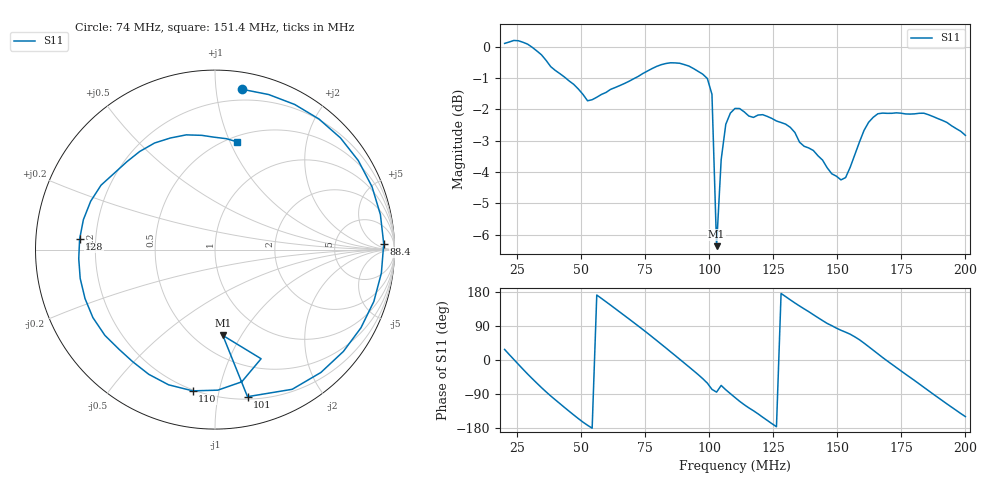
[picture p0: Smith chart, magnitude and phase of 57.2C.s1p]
# HZ S RI R 50
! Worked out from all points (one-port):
!   101 points, 20 MHz to 200 MHz, reference 50 ohm
!   lowest |S11| = -6.4 dB at 102.8 MHz (marker M1), VSWR 2.85, Z = 33.6 - j41.8 ohm
!   |S11| at or under -10 dB: nowhere
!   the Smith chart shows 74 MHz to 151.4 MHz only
!   S11 on the Smith chart (normalised r, x): 74 MHz: 0.12, +1.18; 88.4 MHz: 25, +14; 101 MHz: 0.22, -1.22; 110 MHz: 0.19, -0.84; 128 MHz: 0.14, +0.04; 151.4 MHz: 0.55, +1.06
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2e7  0.895 0.4722
2.54e7  1.001 -0.2055
3.26e7  0.4756 -0.8617
3.8e7  -0.0775 -0.926
4.34e7  -0.5159 -0.7303
4.88e7  -0.7732 -0.3668
5.42e7  -0.8228 -0.000544
5.96e7  -0.7578 0.3737
6.5e7  -0.5154 0.6968
7.4e7  0.1511 0.8932
8.12e7  0.699 0.6222
8.84e7  0.9402 0.0323
9.56e7  0.7154 -0.5673
1.01e8  0.1811 -0.8194
1.028e8  0.0437 -0.4783
1.046e8  0.2567 -0.6081
1.1e8  -0.1241 -0.787
1.208e8  -0.6803 -0.3788
1.28e8  -0.7544 0.0578
1.334e8  -0.6348 0.3591
1.424e8  -0.2485 0.6218
1.514e8  0.1228 0.6003
1.55e8  0.2398 0.5954
1.604e8  0.5233 0.516
1.676e8  0.7775 0.0945
1.784e8  0.544 -0.5597
1.892e8  -0.1146 -0.7591
2e8  -0.6214 -0.3672
